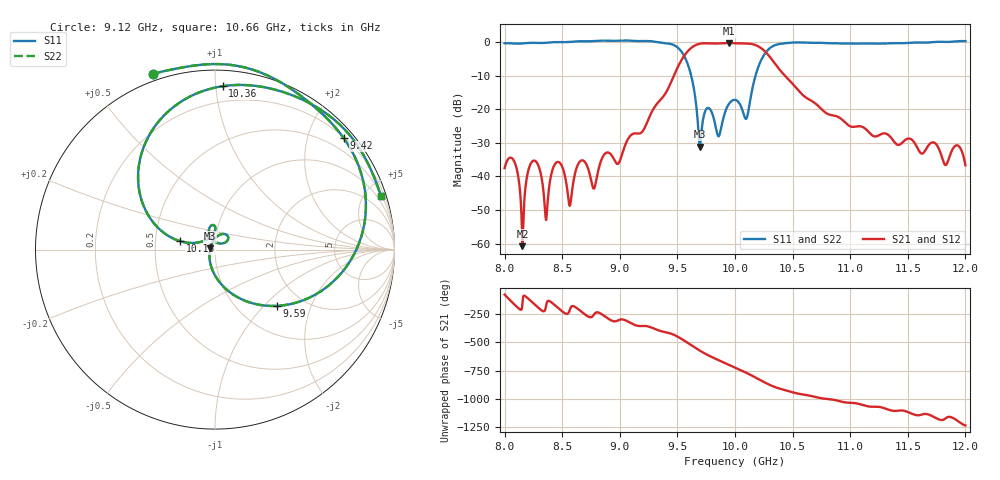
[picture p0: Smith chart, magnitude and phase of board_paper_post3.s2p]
! Paper post filter (Table 1) on full board
! openEMS v0.37 FDTD, reciprocal & symmetric: S22=S11, S12=S21
# GHz S MA R 50
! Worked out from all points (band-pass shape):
!   801 points, 8 GHz to 12 GHz, reference 50 ohm
!   highest |S21| = -0.34 dB at 9.945 GHz (marker M1); lowest = -60.8 dB at 8.155 GHz (marker M2)
!   |S21| within 3 dB of the highest: 9.576 GHz to 10.28 GHz (699.4 MHz wide, 7.05 % of centre)
!   lowest |S11| = -31.1 dB at 9.695 GHz (marker M3), VSWR 1.06, Z = 47.4 + j0.64 ohm
!   |S11| at or under -10 dB: 9.62 GHz to 10.18 GHz (558.7 MHz wide, 5.64 % of centre)
!   |S22| runs from -31.1 to 0.5 dB; largest |S21 - S12| = 0
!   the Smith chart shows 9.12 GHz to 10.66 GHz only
!   S11 on the Smith chart (normalised r, x): 9.12 GHz: -0.03, +0.71; 9.42 GHz: 0.22, +2.67; 9.59 GHz: 1.49, -1.19; 10.15 GHz: 0.67, +0.07; 10.36 GHz: 0.10, +1.04; 10.66 GHz: 0.59, +6.31
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8  0.9565 -65.4  0.01332 -76.6  0.01332 -76.6  0.9565 -65.4
8.155  0.9518 -88.5  0.0009169 -156.1  0.0009169 -156.1  0.9518 -88.5
8.24  0.971 -102.3  0.01669 -145.5  0.01669 -145.5  0.971 -102.3
8.36  0.9736 -120.9  0.002247 -176.5  0.002247 -176.5  0.9736 -120.9
8.44  0.9951 -134.3  0.01551 -173.8  0.01551 -173.8  0.9951 -134.3
8.565  1.003 -154.5  0.003647 145.6  0.003647 145.6  1.003 -154.5
8.67  1.025 -172.5  0.01734 128.8  0.01734 128.8  1.025 -172.5
8.775  1.031 170.5  0.006562 105.0  0.006562 105.0  1.031 170.5
9.12  1.038 109.5  0.04337 18.5  0.04337 18.5  1.038 109.5
9.335  0.9887 63.9  0.1277 -33.1  0.1277 -33.1  0.9887 63.9
9.42  0.9485 40.8  0.2038 -55.6  0.2038 -55.6  0.9485 40.8
9.59  0.4669 -42.2  0.7287 -144.7  0.7287 -144.7  0.4669 -42.2
9.695  0.02777 165.9  0.9421 146.7  0.9421 146.7  0.02777 165.9
9.805  0.08373 35.8  0.9495 87.0  0.9495 87.0  0.08373 35.8
9.945  0.1183 106.3  0.9621 21.9  0.9621 21.9  0.1183 106.3
10  0.1377 94.7  0.9584 -3.4  0.9584 -3.4  0.1377 94.7
10.15  0.199 166.5  0.9285 -76.0  0.9285 -76.0  0.199 166.5
10.36  0.9114 87.3  0.4452 179.7  0.4452 179.7  0.9114 87.3
10.66  0.9718 17.9  0.1344 105.7  0.1344 105.7  0.9718 17.9
10.67  0.972 16.2  0.1312 103.4  0.1312 103.4  0.972 16.2
11.335  0.9591 -82.5  0.04092 -16.9  0.04092 -16.9  0.9591 -82.5
12  1.03 -172.1  0.01465 -155.6  0.01465 -155.6  1.03 -172.1
